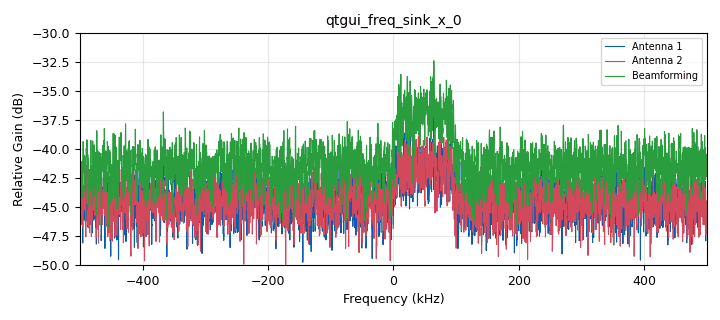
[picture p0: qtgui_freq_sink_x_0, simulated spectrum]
options:
  parameters:
    generate_options: qt_gui
    id: beamforming
    output_language: python
    title: Beamforming demo
  states: {}

blocks:
- name: delay_diff
  id: variable_qtgui_entry
  parameters:
    label: Delay difference (samples)
    type: int
    value: '0'
  states: {}
- name: delay_rate_diff
  id: variable_qtgui_entry
  parameters:
    label: Delay rate difference (ppm)
    type: real
    value: '0'
  states: {}
- name: freq_diff
  id: variable_qtgui_entry
  parameters:
    label: Frequency difference (Hz)
    type: real
    value: '0'
  states: {}
- name: nfft
  id: variable
  parameters:
    value: '256'
  states: {}
- name: phase_diff
  id: variable_qtgui_entry
  parameters:
    label: Phase difference (deg)
    type: real
    value: '0'
  states: {}
- name: samp_rate
  id: variable
  parameters:
    value: '1000000'
  states: {}
- name: scale
  id: variable
  parameters:
    value: 3e6
  states: {state: disabled}
- name: t_int
  id: variable
  parameters:
    value: '0.1'
  states: {}
- name: wideband_bandwidth
  id: variable_qtgui_entry
  parameters:
    label: Wideband signal bandwidth (kHz)
    type: real
    value: '100'
  states: {}
- name: wideband_frequency
  id: variable_qtgui_entry
  parameters:
    label: Wideband signal frequency (kHz)
    type: real
    value: '50'
  states: {}
- name: wideband_snr
  id: variable_qtgui_entry
  parameters:
    label: Wideband signal SNR (dB)
    type: real
    value: '0'
  states: {}
- name: analog_noise_source_x_1
  id: analog_noise_source_x
  parameters:
    amp: np.sqrt(10**(wideband_snr/10.0)/(samp_rate/(wideband_bandwidth*1e3)))
    noise_type: analog.GR_GAUSSIAN
    seed: '0'
    type: complex
  states: {}
- name: analog_sig_source_x_0
  id: analog_sig_source_x
  parameters:
    amp: '1'
    freq: wideband_frequency*1e3
    offset: '0'
    phase: '0'
    samp_rate: samp_rate
    type: complex
    waveform: analog.GR_COS_WAVE
  states: {}
- name: blocks_add_xx_1
  id: blocks_add_xx
  parameters:
    type: complex
  states: {}
- name: blocks_complex_to_arg_0
  id: blocks_complex_to_arg
  parameters:
    vlen: nfft
  states: {state: disabled}
- name: blocks_complex_to_mag_squared_0
  id: blocks_complex_to_mag_squared
  parameters:
    vlen: nfft
  states: {state: disabled}
- name: blocks_delay_0
  id: blocks_delay
  parameters:
    delay: delay_diff
    type: complex
  states: {}
- name: blocks_integrate_xx_0
  id: blocks_integrate_xx
  parameters:
    decim: int(t_int*samp_rate/nfft)
    type: complex
    vlen: nfft
  states: {state: disabled}
- name: blocks_multiply_conjugate_cc_0_0
  id: blocks_multiply_conjugate_cc
  parameters:
    vlen: nfft
  states: {state: disabled}
- name: blocks_multiply_xx_0
  id: blocks_multiply_xx
  parameters:
    type: complex
  states: {}
- name: blocks_repeat_0
  id: blocks_repeat
  parameters:
    interp: '100'
    type: complex
    vlen: nfft
  states: {state: disabled}
- name: blocks_repeat_0_0
  id: blocks_repeat
  parameters:
    interp: '100'
    type: float
    vlen: nfft
  states: {state: disabled}
- name: blocks_stream_to_vector_0
  id: blocks_stream_to_vector
  parameters:
    num_items: nfft
    type: complex
  states: {state: disabled}
- name: blocks_stream_to_vector_0_0
  id: blocks_stream_to_vector
  parameters:
    num_items: nfft
    type: complex
  states: {state: disabled}
- name: blocks_throttle2_0
  id: blocks_throttle2
  parameters:
    samples_per_second: samp_rate
    type: complex
  states: {}
- name: channels_channel_model_0
  id: channels_channel_model
  parameters:
    epsilon: 1.0 + delay_rate_diff * 1e-6
    freq_offset: freq_diff / samp_rate
    noise_voltage: '1.0'
    seed: '2'
    taps: np.exp(1j * np.deg2rad(phase_diff))
  states: {}
- name: channels_channel_model_0_0
  id: channels_channel_model
  parameters:
    epsilon: '1.0'
    freq_offset: '0.0'
    noise_voltage: '1.0'
    seed: '1'
    taps: '1.0'
  states: {}
- name: fft_vxx_0
  id: fft_vxx
  parameters:
    fft_size: nfft
    forward: 'True'
    shift: 'True'
    type: complex
    window: '[]'
  states: {state: disabled}
- name: fft_vxx_0_0
  id: fft_vxx
  parameters:
    fft_size: nfft
    forward: 'True'
    shift: 'True'
    type: complex
    window: '[]'
  states: {state: disabled}
- name: fft_vxx_0_1
  id: fft_vxx
  parameters:
    fft_size: nfft
    forward: 'False'
    shift: 'True'
    type: complex
    window: window.rectangular(nfft)
  states: {state: disabled}
- name: import_0
  id: import
  parameters:
    imports: import numpy as np
  states: {}
- name: note_0
  id: note
  parameters:
    note: Antenna 1
  states: {}
- name: note_0_0
  id: note
  parameters:
    note: Antenna 2
  states: {}
- name: pfb_arb_resampler_xxx_0
  id: pfb_arb_resampler_xxx
  parameters:
    atten: '100'
    nfilts: '32'
    rrate: samp_rate/(wideband_bandwidth*1e3)
    type: ccf
  states: {}
- name: qtgui_freq_sink_x_0
  id: qtgui_freq_sink_x
  parameters:
    average: '0.05'
    bw: samp_rate
    fc: '0'
    fftsize: '4096'
    label1: Antenna 1
    label2: Antenna 2
    label3: Beamforming
    nconnections: '3'
    type: complex
    ymax: '-30'
    ymin: '-50'
  states: {}
- name: qtgui_vector_sink_f_0
  id: qtgui_vector_sink_f
  parameters:
    gui_hint: 1,0,1,1
    name: '"Lag domain power"'
    vlen: nfft
    x_axis_label: '"Delay (samples)"'
    x_start: '0'
    x_step: '1.0'
    x_units: '"samples"'
    y_axis_label: '"Power"'
    ymax: scale**2
    ymin: '0'
  states: {state: disabled}
- name: qtgui_vector_sink_f_0_0
  id: qtgui_vector_sink_f
  parameters:
    gui_hint: 1,1,1,1
    name: '"Frequency domain phase"'
    vlen: nfft
    x_axis_label: '"Frequency (Hz)"'
    x_start: '-samp_rate/2'
    x_step: samp_rate/nfft
    x_units: '"Hz"'
    y_axis_label: '"Phase (rad)"'
    y_units: '"rad"'
    ymax: np.pi
    ymin: '-np.pi'
  states: {state: disabled}
- name: virtual_sink_0
  id: virtual_sink
  parameters:
    stream_id: astro_signal
  states: {}
- name: virtual_sink_1
  id: virtual_sink
  parameters:
    stream_id: ant1
  states: {}
- name: virtual_sink_1_0
  id: virtual_sink
  parameters:
    stream_id: ant2
  states: {}
- name: virtual_source_0
  id: virtual_source
  parameters:
    stream_id: astro_signal
  states: {}
- name: virtual_source_0_0
  id: virtual_source
  parameters:
    stream_id: astro_signal
  states: {}
- name: virtual_source_1
  id: virtual_source
  parameters:
    stream_id: ant1
  states: {state: disabled}
- name: virtual_source_1_0
  id: virtual_source
  parameters:
    stream_id: ant2
  states: {state: disabled}

connections:
- [analog_noise_source_x_1, '0', pfb_arb_resampler_xxx_0, '0']
- [analog_sig_source_x_0, '0', blocks_multiply_xx_0, '1']
- [blocks_add_xx_1, '0', qtgui_freq_sink_x_0, '2']
- [blocks_complex_to_arg_0, '0', blocks_repeat_0_0, '0']
- [blocks_complex_to_mag_squared_0, '0', qtgui_vector_sink_f_0, '0']
- [blocks_delay_0, '0', blocks_add_xx_1, '1']
- [blocks_delay_0, '0', qtgui_freq_sink_x_0, '1']
- [blocks_delay_0, '0', virtual_sink_1_0, '0']
- [blocks_integrate_xx_0, '0', blocks_complex_to_arg_0, '0']
- [blocks_integrate_xx_0, '0', fft_vxx_0_1, '0']
- [blocks_multiply_conjugate_cc_0_0, '0', blocks_integrate_xx_0, '0']
- [blocks_multiply_xx_0, '0', blocks_throttle2_0, '0']
- [blocks_repeat_0, '0', blocks_complex_to_mag_squared_0, '0']
- [blocks_repeat_0_0, '0', qtgui_vector_sink_f_0_0, '0']
- [blocks_stream_to_vector_0, '0', fft_vxx_0, '0']
- [blocks_stream_to_vector_0_0, '0', fft_vxx_0_0, '0']
- [blocks_throttle2_0, '0', virtual_sink_0, '0']
- [channels_channel_model_0, '0', blocks_delay_0, '0']
- [channels_channel_model_0_0, '0', blocks_add_xx_1, '0']
- [channels_channel_model_0_0, '0', qtgui_freq_sink_x_0, '0']
- [channels_channel_model_0_0, '0', virtual_sink_1, '0']
- [fft_vxx_0, '0', blocks_multiply_conjugate_cc_0_0, '0']
- [fft_vxx_0_0, '0', blocks_multiply_conjugate_cc_0_0, '1']
- [fft_vxx_0_1, '0', blocks_repeat_0, '0']
- [pfb_arb_resampler_xxx_0, '0', blocks_multiply_xx_0, '0']
- [virtual_source_0, '0', channels_channel_model_0_0, '0']
- [virtual_source_0_0, '0', channels_channel_model_0, '0']
- [virtual_source_1, '0', blocks_stream_to_vector_0, '0']
- [virtual_source_1_0, '0', blocks_stream_to_vector_0_0, '0']

metadata:
  file_format: 1
  grc_version: 3.10.7.0
